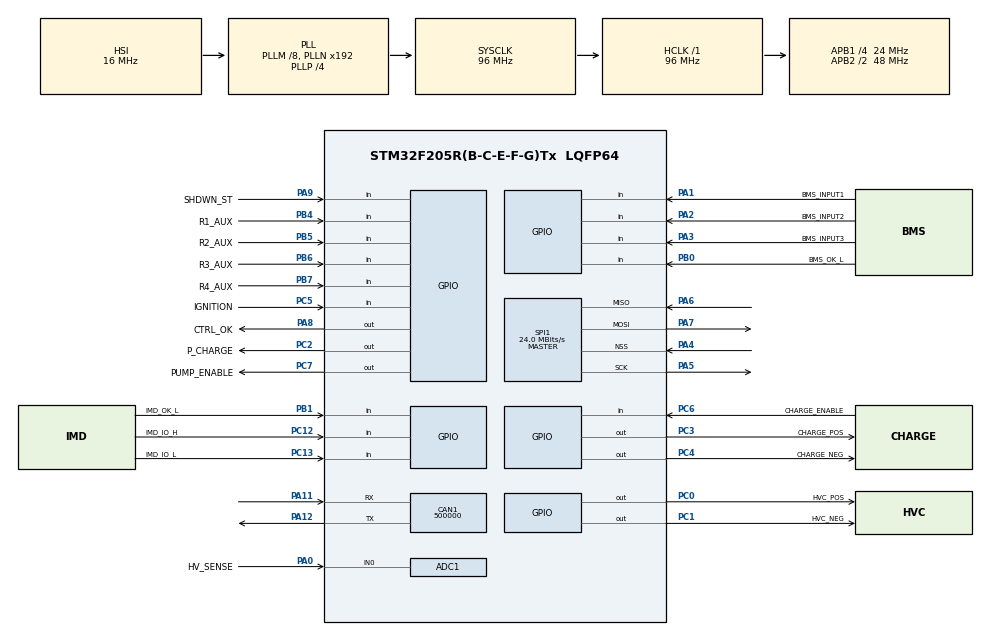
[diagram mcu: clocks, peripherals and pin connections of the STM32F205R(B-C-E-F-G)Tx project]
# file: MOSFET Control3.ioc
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ADC1.Channel-3\#ChannelRegularConversion=ADC_CHANNEL_0
ADC1.NbrOfConversionFlag=1
ADC1.Rank-3\#ChannelRegularConversion=1
ADC1.SamplingTime-3\#ChannelRegularConversion=ADC_SAMPLETIME_3CYCLES
ADC1.master=1
CAN1.CalculateBaudRate=500000
CAN1.CalculateTimeBit=2000
CAN1.CalculateTimeQuantum=666.6666666666666
Mcu.Family=STM32F2
Mcu.Name=STM32F205R(B-C-E-F-G)Tx
Mcu.Package=LQFP64
NVIC.PriorityGroup=NVIC_PRIORITYGROUP_4
NVIC.TIM2_IRQn=true\:0\:0\:false\:false\:true\:true\:true\:true
NVIC.TIM3_IRQn=true\:0\:0\:false\:false\:true\:true\:true\:true
PA0-WKUP.GPIO_Label=HV_SENSE
PA0-WKUP.Signal=ADCx_IN0
PA1.GPIO_Label=BMS_INPUT1
PA1.Signal=GPIO_Input
PA11.Mode=CAN_Activate
PA11.Signal=CAN1_RX
PA12.Mode=CAN_Activate
PA12.Signal=CAN1_TX
PA2.GPIO_Label=BMS_INPUT2
PA2.Signal=GPIO_Input
PA3.GPIO_Label=BMS_INPUT3
PA3.Signal=GPIO_Input
PA4.Mode=NSS_Signal_Hard_Input
PA4.Signal=SPI1_NSS
PA5.Mode=Full_Duplex_Master
PA5.Signal=SPI1_SCK
PA6.Mode=Full_Duplex_Master
PA6.Signal=SPI1_MISO
PA7.Mode=Full_Duplex_Master
PA7.Signal=SPI1_MOSI
PA8.GPIO_Label=CTRL_OK
PA8.Signal=GPIO_Output
PA9.GPIO_Label=SHDWN_ST
PA9.Signal=GPIO_Input
PB0.GPIO_Label=BMS_OK_L
PB0.Signal=GPIO_Input
PB1.GPIO_Label=IMD_OK_L
PB1.Signal=GPIO_Input
PB4.GPIO_Label=R1_AUX
PB4.Signal=GPIO_Input
PB5.GPIO_Label=R2_AUX
PB5.Signal=GPIO_Input
PB6.GPIO_Label=R3_AUX
PB6.Signal=GPIO_Input
PB7.GPIO_Label=R4_AUX
PB7.Signal=GPIO_Input
PC0.GPIO_Label=HVC_POS
PC0.Signal=GPIO_Output
PC1.GPIO_Label=HVC_NEG
PC1.Signal=GPIO_Output
PC12.GPIO_Label=IMD_IO_H
PC12.Signal=GPIO_Input
PC13.GPIO_Label=IMD_IO_L
PC13.Signal=GPIO_Input
PC2.GPIO_Label=P_CHARGE
PC2.Signal=GPIO_Output
PC3.GPIO_Label=CHARGE_POS
PC3.Signal=GPIO_Output
PC4.GPIO_Label=CHARGE_NEG
PC4.Signal=GPIO_Output
PC5.GPIO_Label=IGNITION
PC5.Signal=GPIO_Input
PC6.GPIO_Label=CHARGE_ENABLE
PC6.Signal=GPIO_Input
PC7.GPIO_Label=PUMP_ENABLE
PC7.Signal=GPIO_Output
ProjectManager.HeapSize=0x200
ProjectManager.StackSize=0x400
ProjectManager.TargetToolchain=STM32CubeIDE
RCC.48MHZClocksFreq_Value=96000000
RCC.AHBFreq_Value=96000000
RCC.APB1CLKDivider=RCC_HCLK_DIV4
RCC.APB1Freq_Value=24000000
RCC.APB1TimFreq_Value=48000000
RCC.APB2CLKDivider=RCC_HCLK_DIV2
RCC.APB2Freq_Value=48000000
RCC.APB2TimFreq_Value=96000000
RCC.CortexFreq_Value=96000000
RCC.HCLKFreq_Value=96000000
RCC.HSE_VALUE=25000000
RCC.HSI_VALUE=16000000
RCC.LSE_VALUE=32768
RCC.PLLM=8
RCC.PLLP=RCC_PLLP_DIV4
RCC.SYSCLKFreq_VALUE=96000000
RCC.SYSCLKSource=RCC_SYSCLKSOURCE_PLLCLK
RCC.VCOOutputFreq_Value=384000000
SH.ADCx_IN0.0=ADC1_IN0,IN0
SPI1.CalculateBaudRate=24.0 MBits/s
SPI1.Direction=SPI_DIRECTION_2LINES
SPI1.Mode=SPI_MODE_MASTER
SPI1.VirtualNSS=VM_NSSHARD
SPI1.VirtualType=VM_MASTER
TIM2.AutoReloadPreload=TIM_AUTORELOAD_PRELOAD_ENABLE
TIM2.Period=49999
TIM2.Prescaler=959
TIM3.CounterMode=TIM_COUNTERMODE_UP
TIM3.Period=49999
TIM3.Prescaler=9599
VP_TIM2_VS_ClockSourceINT.Mode=Internal
VP_TIM3_VS_ClockSourceINT.Mode=Internal
board=custom

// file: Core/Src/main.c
/* USER CODE BEGIN Header */
/**
  ******************************************************************************
  * @file           : main.c
  * @brief          : Main program body
  ******************************************************************************
  * @attention
  *
  * Copyright (c) 2024 STMicroelectronics.
  * All rights reserved.
  *
  * This software is licensed under terms that can be found in the LICENSE file
  * in the root directory of this software component.
  * If no LICENSE file comes with this software, it is provided AS-IS.
  *
  ******************************************************************************
  */
/* USER CODE END Header */
#include "main.h"
#include <stdbool.h>
#include <stdio.h>
#include <stdlib.h>

/* USER CODE BEGIN Includes */
float Read_ADC_Voltage(void);
// watch out for running out of onboard memory because of inline
static inline void check_high(GPIO_TypeDef *GPIOx,uint16_t GPIO_Pin);
static inline void check_low(GPIO_TypeDef *GPIOx,uint16_t GPIO_Pin);

/* USER CODE END Includes */

/* USER CODE BEGIN PD */
#define R1_AUX_PORT GPIOB
#define R2_AUX_PORT GPIOB
#define R3_AUX_PORT GPIOB
#define R4_AUX_PORT GPIOB

#define BLINK_TEST_PORT GPIOA

#define IMD_IO_H_PORT
#define IMD_IO_L_PORT

#define HVC_POS_PORT GPIOC
#define HVC_NEG_PORT GPIOC
#define P_CHARGE_PORT GPIOC
#define HV_SENSE_PORT HV_SENSE_GPIO_Port
#define CHARGE_POS_PORT GPIOC
#define CHARGE_NEG_PORT GPIOC

#define BMS_INPUT1_PORT GPIOA
#define BMS_INPUT2_PORT GPIOA
#define BMS_INPUT3_PORT GPIOA

#define SP1_NSS_PORT
#define SP1_SCK_PORT
#define SP1_MISO_PORT
#define SP1_MOSI_PORT

#define IGNITION_PORT GPIOC
#define CHARGE_ENABLE_PORT GPIOC
#define PUMP_ENABLE_PORT GPIOC

#define BMS_OK_L_PORT GPIOB
#define IMD_OK_L_PORT GPIOB
#define SHDWN_ST_PORT GPIOA

#define CAN1_TX_PORT
#define CAN1_RX_PORT

typedef enum {
	UPDATING, SHUTDOWN, STANDBY, CHARGING, PRECHARGE, OPERATION, DISCHARGE
} AllStatus;

AllStatus Status = STANDBY;
int updating_counter = 0;
int operation = 0;
int ignition = 0;
int charging = 0;

float can_voltage =0.0;

uint32_t updating_start_tick = 0;
/* USER CODE END PD */

ADC_HandleTypeDef hadc1;

CAN_HandleTypeDef hcan1;

SPI_HandleTypeDef hspi1;

TIM_HandleTypeDef htim2;
TIM_HandleTypeDef htim3;

void SystemClock_Config(void);
static void MX_GPIO_Init(void);
static void MX_TIM2_Init(void);
static void MX_SPI1_Init(void);
static void MX_ADC1_Init(void);
static void MX_TIM3_Init(void);
static void MX_CAN1_Init(void);
/* USER CODE BEGIN PFP */

void while_operation(void);
void set_discharge(void);
void set_precharge(void);  // Forward declaration
void set_charging(void);   // Forward declaration

/* USER CODE END PFP */

/* USER CODE BEGIN 0 */
void allRelaysOpen() {
	HAL_GPIO_WritePin(HVC_POS_PORT, HVC_POS_Pin, GPIO_PIN_RESET);
	HAL_GPIO_WritePin(HVC_NEG_PORT, HVC_NEG_Pin, GPIO_PIN_RESET);
	HAL_GPIO_WritePin(CHARGE_NEG_PORT, CHARGE_NEG_Pin, GPIO_PIN_RESET);
	HAL_GPIO_WritePin(CHARGE_POS_PORT, CHARGE_POS_Pin, GPIO_PIN_RESET);
	HAL_GPIO_WritePin(PUMP_ENABLE_PORT, PUMP_ENABLE_Pin, GPIO_PIN_RESET);

	HAL_Delay(1000);

	check_low(R1_AUX_PORT, R1_AUX_Pin);
	check_low(R2_AUX_PORT, R2_AUX_Pin);
	check_low(R3_AUX_PORT, R3_AUX_Pin);
}

void allDigitalRead() {
	HAL_GPIO_ReadPin(IGNITION_PORT, IGNITION_Pin);
	HAL_GPIO_ReadPin(CHARGE_ENABLE_PORT, CHARGE_ENABLE_Pin);

}

void allAuxDigitalRead() {
	HAL_GPIO_ReadPin(R1_AUX_PORT, R1_AUX_Pin);
	HAL_GPIO_ReadPin(R2_AUX_PORT, R2_AUX_Pin);
	HAL_GPIO_ReadPin(R3_AUX_PORT, R3_AUX_Pin);
}

int Reading_Pin(char aux_number) {
	int state = 0; // Default state
	switch (aux_number) {
	case '1':
		state = HAL_GPIO_ReadPin(R1_AUX_PORT, R1_AUX_Pin);
		break;
	case '2':
		state = HAL_GPIO_ReadPin(R2_AUX_PORT, R2_AUX_Pin);
		break;
	case '3':
		state = HAL_GPIO_ReadPin(R3_AUX_PORT, R3_AUX_Pin);
		break;
	case 'I':
		state = HAL_GPIO_ReadPin(IGNITION_PORT, IGNITION_Pin);
		break;
	case 'c':
		state = HAL_GPIO_ReadPin(CHARGE_ENABLE_PORT, CHARGE_ENABLE_Pin);
		break;
	case 'h':
		state = HAL_GPIO_ReadPin(HV_SENSE_GPIO_Port, HV_SENSE_Pin);
		break;
	default:
		state = -1; // Indicate an invalid aux_number
		break;
	}
	return state;
}
/* USER CODE END 0 */

int main(void)
{

  /* MCU Configuration--------------------------------------------------------*/

  /* Reset of all peripherals, Initializes the Flash interface and the Systick. */
  HAL_Init();

  /* Configure the system clock */
  SystemClock_Config();

  /* Initialize all configured peripherals */
  MX_GPIO_Init();
  MX_TIM2_Init();
  MX_SPI1_Init();
  MX_ADC1_Init();
  MX_TIM3_Init();
  MX_CAN1_Init();

  /* Infinite loop */
  while (1)
  {
	  if (Reading_Pin('I') == 1 && operation == 0) {
	  		set_precharge();
	  	}
	  	//Charging
	  if (Reading_Pin('c') == 1 && Reading_Pin('I') == 0 && operation == 0) {
	  		//make sure no accidental charging during operation ^^^-ray
	  		set_charging();
	  	}

  }
}

void SystemClock_Config(void)
{
  RCC_OscInitTypeDef RCC_OscInitStruct = {0};
  RCC_ClkInitTypeDef RCC_ClkInitStruct = {0};

  /** Initializes the RCC Oscillators according to the specified parameters
  * in the RCC_OscInitTypeDef structure.
  */
  RCC_OscInitStruct.OscillatorType = RCC_OSCILLATORTYPE_HSI;
  RCC_OscInitStruct.HSIState = RCC_HSI_ON;
  RCC_OscInitStruct.HSICalibrationValue = RCC_HSICALIBRATION_DEFAULT;
  RCC_OscInitStruct.PLL.PLLState = RCC_PLL_ON;
  RCC_OscInitStruct.PLL.PLLSource = RCC_PLLSOURCE_HSI;
  RCC_OscInitStruct.PLL.PLLM = 8;
  RCC_OscInitStruct.PLL.PLLN = 192;
  RCC_OscInitStruct.PLL.PLLP = RCC_PLLP_DIV4;
  RCC_OscInitStruct.PLL.PLLQ = 4;
  if (HAL_RCC_OscConfig(&RCC_OscInitStruct) != HAL_OK)
  {
    Error_Handler();
  }

  /** Initializes the CPU, AHB and APB buses clocks
  */
  RCC_ClkInitStruct.ClockType = RCC_CLOCKTYPE_HCLK|RCC_CLOCKTYPE_SYSCLK
                              |RCC_CLOCKTYPE_PCLK1|RCC_CLOCKTYPE_PCLK2;
  RCC_ClkInitStruct.SYSCLKSource = RCC_SYSCLKSOURCE_PLLCLK;
  RCC_ClkInitStruct.AHBCLKDivider = RCC_SYSCLK_DIV1;
  RCC_ClkInitStruct.APB1CLKDivider = RCC_HCLK_DIV4;
  RCC_ClkInitStruct.APB2CLKDivider = RCC_HCLK_DIV2;

  if (HAL_RCC_ClockConfig(&RCC_ClkInitStruct, FLASH_LATENCY_3) != HAL_OK)
  {
    Error_Handler();
  }
}

static void MX_ADC1_Init(void)
{

  ADC_ChannelConfTypeDef sConfig = {0};

  /** Configure the global features of the ADC (Clock, Resolution, Data Alignment and number of conversion)
  */
  hadc1.Instance = ADC1;
  hadc1.Init.ClockPrescaler = ADC_CLOCK_SYNC_PCLK_DIV2;
  hadc1.Init.Resolution = ADC_RESOLUTION_12B;
  hadc1.Init.ScanConvMode = DISABLE;
  hadc1.Init.ContinuousConvMode = DISABLE;
  hadc1.Init.DiscontinuousConvMode = DISABLE;
  hadc1.Init.ExternalTrigConvEdge = ADC_EXTERNALTRIGCONVEDGE_NONE;
  hadc1.Init.ExternalTrigConv = ADC_SOFTWARE_START;
  hadc1.Init.DataAlign = ADC_DATAALIGN_RIGHT;
  hadc1.Init.NbrOfConversion = 1;
  hadc1.Init.DMAContinuousRequests = DISABLE;
  hadc1.Init.EOCSelection = ADC_EOC_SINGLE_CONV;
  if (HAL_ADC_Init(&hadc1) != HAL_OK)
  {
    Error_Handler();
  }

  /** Configure for the selected ADC regular channel its corresponding rank in the sequencer and its sample time.
  */
  sConfig.Channel = ADC_CHANNEL_0;
  sConfig.Rank = 1;
  sConfig.SamplingTime = ADC_SAMPLETIME_3CYCLES;
  if (HAL_ADC_ConfigChannel(&hadc1, &sConfig) != HAL_OK)
  {
    Error_Handler();
  }

}

static void MX_CAN1_Init(void)
{

  hcan1.Instance = CAN1;
  hcan1.Init.Prescaler = 16;
  hcan1.Init.Mode = CAN_MODE_NORMAL;
  hcan1.Init.SyncJumpWidth = CAN_SJW_1TQ;
  hcan1.Init.TimeSeg1 = CAN_BS1_1TQ;
  hcan1.Init.TimeSeg2 = CAN_BS2_1TQ;
  hcan1.Init.TimeTriggeredMode = DISABLE;
  hcan1.Init.AutoBusOff = DISABLE;
  hcan1.Init.AutoWakeUp = DISABLE;
  hcan1.Init.AutoRetransmission = DISABLE;
  hcan1.Init.ReceiveFifoLocked = DISABLE;
  hcan1.Init.TransmitFifoPriority = DISABLE;
  if (HAL_CAN_Init(&hcan1) != HAL_OK)
  {
    Error_Handler();
  }

}

static void MX_SPI1_Init(void)
{

  /* SPI1 parameter configuration*/
  hspi1.Instance = SPI1;
  hspi1.Init.Mode = SPI_MODE_MASTER;
  hspi1.Init.Direction = SPI_DIRECTION_2LINES;
  hspi1.Init.DataSize = SPI_DATASIZE_8BIT;
  hspi1.Init.CLKPolarity = SPI_POLARITY_LOW;
  hspi1.Init.CLKPhase = SPI_PHASE_1EDGE;
  hspi1.Init.NSS = SPI_NSS_HARD_INPUT;
  hspi1.Init.BaudRatePrescaler = SPI_BAUDRATEPRESCALER_2;
  hspi1.Init.FirstBit = SPI_FIRSTBIT_MSB;
  hspi1.Init.TIMode = SPI_TIMODE_DISABLE;
  hspi1.Init.CRCCalculation = SPI_CRCCALCULATION_DISABLE;
  hspi1.Init.CRCPolynomial = 10;
  if (HAL_SPI_Init(&hspi1) != HAL_OK)
  {
    Error_Handler();
  }

}

static void MX_TIM2_Init(void)
{

  TIM_ClockConfigTypeDef sClockSourceConfig = {0};
  TIM_MasterConfigTypeDef sMasterConfig = {0};

  htim2.Instance = TIM2;
  htim2.Init.Prescaler = 959;
  htim2.Init.CounterMode = TIM_COUNTERMODE_UP;
  htim2.Init.Period = 49999;
  htim2.Init.ClockDivision = TIM_CLOCKDIVISION_DIV1;
  htim2.Init.AutoReloadPreload = TIM_AUTORELOAD_PRELOAD_ENABLE;
  if (HAL_TIM_Base_Init(&htim2) != HAL_OK)
  {
    Error_Handler();
  }
  sClockSourceConfig.ClockSource = TIM_CLOCKSOURCE_INTERNAL;
  if (HAL_TIM_ConfigClockSource(&htim2, &sClockSourceConfig) != HAL_OK)
  {
    Error_Handler();
  }
  sMasterConfig.MasterOutputTrigger = TIM_TRGO_RESET;
  sMasterConfig.MasterSlaveMode = TIM_MASTERSLAVEMODE_DISABLE;
  if (HAL_TIMEx_MasterConfigSynchronization(&htim2, &sMasterConfig) != HAL_OK)
  {
    Error_Handler();
  }

}

static void MX_TIM3_Init(void)
{

  TIM_ClockConfigTypeDef sClockSourceConfig = {0};
  TIM_MasterConfigTypeDef sMasterConfig = {0};

  htim3.Instance = TIM3;
  htim3.Init.Prescaler = 9599;
  htim3.Init.CounterMode = TIM_COUNTERMODE_UP;
  htim3.Init.Period = 49999;
  htim3.Init.ClockDivision = TIM_CLOCKDIVISION_DIV1;
  htim3.Init.AutoReloadPreload = TIM_AUTORELOAD_PRELOAD_DISABLE;
  if (HAL_TIM_Base_Init(&htim3) != HAL_OK)
  {
    Error_Handler();
  }
  sClockSourceConfig.ClockSource = TIM_CLOCKSOURCE_INTERNAL;
  if (HAL_TIM_ConfigClockSource(&htim3, &sClockSourceConfig) != HAL_OK)
  {
    Error_Handler();
  }
  sMasterConfig.MasterOutputTrigger = TIM_TRGO_RESET;
  sMasterConfig.MasterSlaveMode = TIM_MASTERSLAVEMODE_DISABLE;
  if (HAL_TIMEx_MasterConfigSynchronization(&htim3, &sMasterConfig) != HAL_OK)
  {
    Error_Handler();
  }

}

static void MX_GPIO_Init(void)
{
  GPIO_InitTypeDef GPIO_InitStruct = {0};

  /* GPIO Ports Clock Enable */
  __HAL_RCC_GPIOC_CLK_ENABLE();
  __HAL_RCC_GPIOA_CLK_ENABLE();
  __HAL_RCC_GPIOB_CLK_ENABLE();

  /*Configure GPIO pin Output Level */
  HAL_GPIO_WritePin(GPIOC, HVC_POS_Pin|HVC_NEG_Pin|P_CHARGE_Pin|CHARGE_POS_Pin
                          |CHARGE_NEG_Pin|PUMP_ENABLE_Pin, GPIO_PIN_RESET);

  /*Configure GPIO pin Output Level */
  HAL_GPIO_WritePin(GPIOA, CTRL_OK_Pin, GPIO_PIN_RESET);

  /*Configure GPIO pins : IMD_IO_L_Pin IGNITION_Pin CHARGE_ENABLE_Pin IMD_IO_H_Pin */
  GPIO_InitStruct.Pin = IMD_IO_L_Pin|IGNITION_Pin|CHARGE_ENABLE_Pin|IMD_IO_H_Pin;
  GPIO_InitStruct.Mode = GPIO_MODE_INPUT;
  GPIO_InitStruct.Pull = GPIO_NOPULL;
  HAL_GPIO_Init(GPIOC, &GPIO_InitStruct);

  /*Configure GPIO pins : HVC_POS_Pin HVC_NEG_Pin P_CHARGE_Pin CHARGE_POS_Pin
                           CHARGE_NEG_Pin PUMP_ENABLE_Pin */
  GPIO_InitStruct.Pin = HVC_POS_Pin|HVC_NEG_Pin|P_CHARGE_Pin|CHARGE_POS_Pin
                          |CHARGE_NEG_Pin|PUMP_ENABLE_Pin;
  GPIO_InitStruct.Mode = GPIO_MODE_OUTPUT_PP;
  GPIO_InitStruct.Pull = GPIO_NOPULL;
  GPIO_InitStruct.Speed = GPIO_SPEED_FREQ_LOW;
  HAL_GPIO_Init(GPIOC, &GPIO_InitStruct);

  /*Configure GPIO pins : BMS_INPUT1_Pin BMS_INPUT2_Pin BMS_INPUT3_Pin SHDWN_ST_Pin */
  GPIO_InitStruct.Pin = BMS_INPUT1_Pin|BMS_INPUT2_Pin|BMS_INPUT3_Pin|SHDWN_ST_Pin;
  GPIO_InitStruct.Mode = GPIO_MODE_INPUT;
  GPIO_InitStruct.Pull = GPIO_NOPULL;
  HAL_GPIO_Init(GPIOA, &GPIO_InitStruct);

  /*Configure GPIO pins : BMS_OK_L_Pin IMD_OK_L_Pin R1_AUX_Pin R2_AUX_Pin
                           R3_AUX_Pin R4_AUX_Pin */
  GPIO_InitStruct.Pin = BMS_OK_L_Pin|IMD_OK_L_Pin|R1_AUX_Pin|R2_AUX_Pin
                          |R3_AUX_Pin|R4_AUX_Pin;
  GPIO_InitStruct.Mode = GPIO_MODE_INPUT;
  GPIO_InitStruct.Pull = GPIO_NOPULL;
  HAL_GPIO_Init(GPIOB, &GPIO_InitStruct);

  /*Configure GPIO pins : CTRL_OK_Pin BLINK_TEST_Pin */
  GPIO_InitStruct.Pin = CTRL_OK_Pin;
  GPIO_InitStruct.Mode = GPIO_MODE_OUTPUT_PP;
  GPIO_InitStruct.Pull = GPIO_NOPULL;
  GPIO_InitStruct.Speed = GPIO_SPEED_FREQ_LOW;
  HAL_GPIO_Init(GPIOA, &GPIO_InitStruct);

}

/* USER CODE BEGIN 4 */
int _write(int file, char *ptr, int len) {
	(void) file;
	int DataIdx;

	for (DataIdx = 0; DataIdx < len; DataIdx++) {
		ITM_SendChar(*ptr++);
	}
	return len;
}

void HAL_TIM_PeriodElapsedCallback(TIM_HandleTypeDef *htim) {
// Check if the interrupt comes from TIM2
	if(htim->Instance == TIM3){
		can_voltage = 103.6; 	// MANUAL SET VOLTAGE
		}
	if (htim->Instance == TIM2) {
		if (HAL_GPIO_ReadPin(SHDWN_ST_PORT, SHDWN_ST_Pin) == GPIO_PIN_SET) {
			Status = SHUTDOWN;
		}

		switch (Status) {
		case UPDATING:
			if (updating_start_tick == 0) { // Initialize start tick on first entry
				updating_start_tick = HAL_GetTick();
			}
				// Check if 30 seconds have elapsed
			if ((HAL_GetTick() - updating_start_tick) > 30000) {
				updating_start_tick = 0;  // Reset for next use
				Error_Handler();
			}
			break;
		case SHUTDOWN:
			if (HAL_GPIO_ReadPin(IMD_OK_L_PORT, IMD_OK_L_Pin)
					== GPIO_PIN_RESET) {
				printf("IMD NOT OK.\n");
			} else if (HAL_GPIO_ReadPin(BMS_OK_L_PORT, BMS_OK_L_Pin)
					== GPIO_PIN_RESET) {
				printf("BMS NOT OK.\n");
			} else {
				printf("Cause of shutdown is unknown.\n");
			}
			Error_Handler();
		case STANDBY:
			//i forgot which AUX pins we need to check for standby -ray
			if (HAL_GPIO_ReadPin(R1_AUX_PORT, R1_AUX_Pin) == GPIO_PIN_RESET) { //please double check all AUX pins -ray
				if (HAL_GPIO_ReadPin(R2_AUX_PORT, R2_AUX_Pin)
						== GPIO_PIN_RESET) { //also 3 if statements seems a bit more readable
					if (HAL_GPIO_ReadPin(R3_AUX_PORT, R3_AUX_Pin)
							== GPIO_PIN_RESET) {
						break;
					}
				}
			}
			Error_Handler();
		case CHARGING:
			//i dont know which AUX pins we need to check for charging -ray
			if (HAL_GPIO_ReadPin(R1_AUX_PORT, R1_AUX_Pin) == GPIO_PIN_RESET) { //please double check all AUX pins -ray
				if (HAL_GPIO_ReadPin(R2_AUX_PORT, R2_AUX_Pin)
						== GPIO_PIN_RESET) { //also 3 if statements seems a bit more readable
					if (HAL_GPIO_ReadPin(R3_AUX_PORT, R3_AUX_Pin)
							== GPIO_PIN_RESET) {
						break;
					}
				}
			}
			Error_Handler();
		case PRECHARGE:
			if (HAL_GPIO_ReadPin(R1_AUX_PORT, R1_AUX_Pin) == GPIO_PIN_RESET) { //please double check all AUX pins -ray
				if (HAL_GPIO_ReadPin(R2_AUX_PORT, R2_AUX_Pin) == GPIO_PIN_SET) { //also 3 if statements seems a bit more readable
					if (HAL_GPIO_ReadPin(R3_AUX_PORT, R3_AUX_Pin)
							== GPIO_PIN_SET) {
						break;
					}
				}
			}
			Error_Handler();
		case OPERATION:
			if (HAL_GPIO_ReadPin(R1_AUX_PORT, R1_AUX_Pin) == GPIO_PIN_SET) {
				if (HAL_GPIO_ReadPin(R2_AUX_PORT, R2_AUX_Pin) == GPIO_PIN_SET) {
					if (HAL_GPIO_ReadPin(R3_AUX_PORT, R3_AUX_Pin)
							== GPIO_PIN_RESET) {
						break;
					}
				}
			}
			Error_Handler();
		case DISCHARGE:
			if (HAL_GPIO_ReadPin(R1_AUX_PORT, R1_AUX_Pin) == GPIO_PIN_RESET) {
				if (HAL_GPIO_ReadPin(R2_AUX_PORT, R3_AUX_Pin)
						== GPIO_PIN_RESET) {
					if (HAL_GPIO_ReadPin(R3_AUX_PORT, R3_AUX_Pin)
							== GPIO_PIN_RESET) {
						break;
					}
				}
			}
			Error_Handler();
		default:
			Error_Handler();
		}
	}
}

// delays are now built into the checks -ray
static inline void check_high(GPIO_TypeDef *GPIOx,uint16_t GPIO_Pin){ //
	for (int i = 0; i < 5; ++i) {
		HAL_Delay(100);
        	if (HAL_GPIO_ReadPin(GPIOx, GPIO_Pin)) {
			return;
		}
	}
	Error_Handler();
}

static inline void check_low(GPIO_TypeDef *GPIOx, uint16_t GPIO_Pin) {
    for (int i = 0; i < 5; ++i) {
        HAL_Delay(100);
        if (!HAL_GPIO_ReadPin(GPIOx, GPIO_Pin)) {
            return;
        }
    }
    Error_Handler(); // Trigger error handler if the pin state is not low after retries
}

//these functions use mostly copied code from old main loop -ray
void set_precharge() {
	uint32_t start_tick = HAL_GetTick(); // in milliseconds
	uint32_t timeout = 30000; // Timeout set for 30000 milliseconds or 30 seconds
	double hv_sense_voltage;
	bool voltage_reached = false;

	Status = UPDATING;
	allRelaysOpen();
	HAL_GPIO_WritePin(HVC_NEG_PORT, HVC_NEG_Pin, GPIO_PIN_SET);
	check_high(R2_AUX_PORT, R2_AUX_Pin);
	HAL_GPIO_WritePin(P_CHARGE_PORT, P_CHARGE_Pin, GPIO_PIN_SET);
	check_high(R3_AUX_PORT, R3_AUX_Pin);

	while (1) {
		hv_sense_voltage = Read_ADC_Voltage();
		if (hv_sense_voltage >= 0.9 * can_voltage) { // CANBUS VLAUE FROM ISR
			voltage_reached = true;
			Status = PRECHARGE; // Successfully precharged, update status
			while_operation();
			break; // Exit the loop on successful precharge
		}

		// Check for timeout
		if (HAL_GetTick() - start_tick >= timeout) {
			break; // Exit the loop after timeout
		}

		HAL_Delay(1000); // Delay for 1 second before checking again
	}

	if (!voltage_reached) {
		printf("Failed to reach the required voltage within 30 seconds.\n");
		Error_Handler(); // Handle the timeout error
	}
	return;
}

void while_operation() {
	if (HAL_GPIO_ReadPin(IGNITION_PORT, IGNITION_Pin) == GPIO_PIN_RESET) {
		set_discharge();
	} else {
		Status = UPDATING;
		HAL_GPIO_WritePin(HVC_POS_PORT, HVC_POS_Pin, GPIO_PIN_SET);
		check_high(R1_AUX_PORT, R1_AUX_Pin);

		HAL_Delay(1000); // Wait for 1 second to ensure stability

		HAL_GPIO_WritePin(P_CHARGE_PORT, P_CHARGE_Pin, GPIO_PIN_RESET);
		check_low(R3_AUX_PORT, R3_AUX_Pin);

		Status = OPERATION; // Set status to OPERATION
	}
	return;
}

void set_discharge() {
	Status = UPDATING;
	HAL_Delay(30000); // 30-second delay for any necessary pre-discharge preparations

	allRelaysOpen(); // Open all relays to ensure system is in a safe state before discharging

	HAL_GPIO_WritePin(CTRL_OK_GPIO_Port, CTRL_OK_Pin, GPIO_PIN_RESET);

	operation = 0; // Reset operation status
	Status = DISCHARGE; // Set status to DISCHARGE
	return;
}

void set_charging() {
	Status = UPDATING;
	allRelaysOpen();  // Open all relays to ensure the system is in a safe state

	HAL_GPIO_WritePin(CHARGE_NEG_PORT, CHARGE_NEG_Pin, GPIO_PIN_SET);

	HAL_GPIO_WritePin(CHARGE_POS_PORT, CHARGE_POS_Pin, GPIO_PIN_SET);

	Status = CHARGING; // Update system status to CHARGING after successful pin settings
}

float Read_ADC_Voltage(void) {
	uint32_t hv_sense_value;
	// Start the ADC
	HAL_ADC_Start(&hadc1);

	// Poll for conversion completion with a timeout of 10ms
	if (HAL_ADC_PollForConversion(&hadc1, 100) == HAL_OK) {
		hv_sense_value = HAL_ADC_GetValue(&hadc1);
		return (hv_sense_value / 4095.0) * 103.6;
	} else {
		// Handle the error or return a default value
		return -1.0f;  // Indicate an error in conversion
	}
}
/* USER CODE END 4 */

void Error_Handler(void)
{
  /* USER CODE BEGIN Error_Handler_Debug */
	/* User can add his own implementation to report the HAL error return state */
	__disable_irq();
	while (1) {
		allRelaysOpen();
		HAL_GPIO_WritePin(CTRL_OK_GPIO_Port, CTRL_OK_Pin, GPIO_PIN_RESET);
		exit(0);
	}
  /* USER CODE END Error_Handler_Debug */
}
